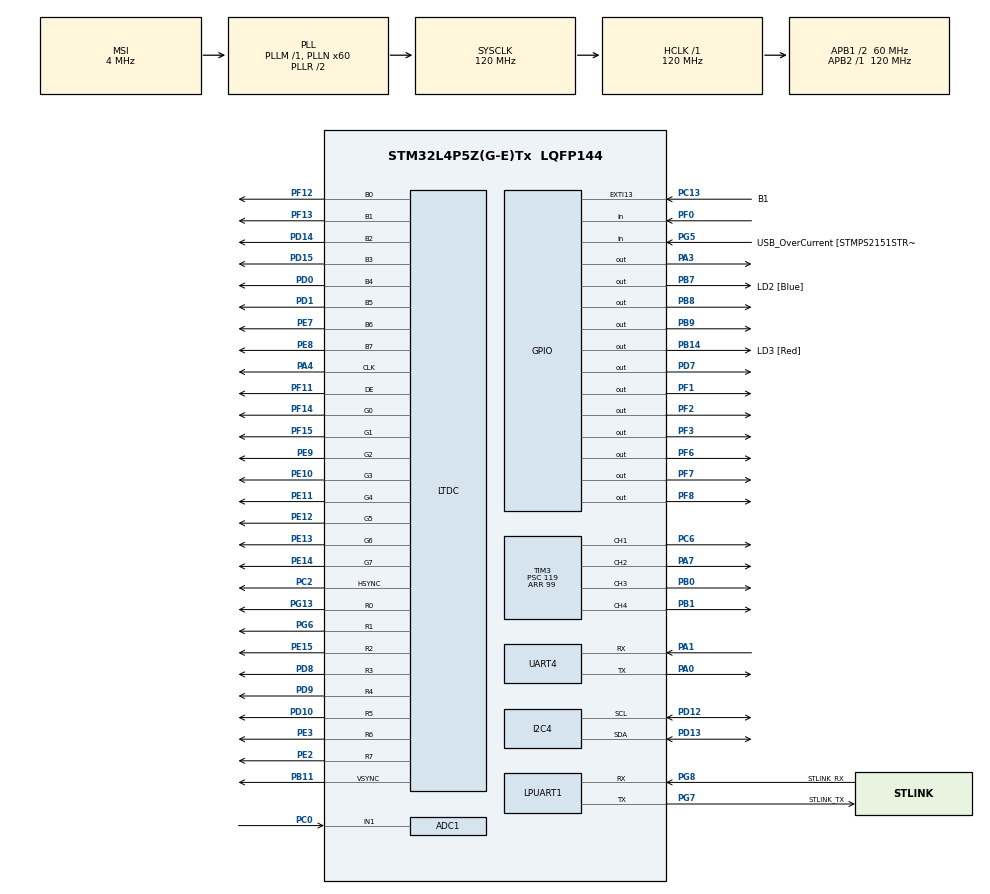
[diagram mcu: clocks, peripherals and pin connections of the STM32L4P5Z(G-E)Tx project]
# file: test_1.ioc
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ADC1.Channel-0\#ChannelRegularConversion=ADC_CHANNEL_1
ADC1.NbrOfConversionFlag=1
ADC1.OffsetNumber-0\#ChannelRegularConversion=ADC_OFFSET_NONE
ADC1.OversamplingMode=ENABLE
ADC1.Rank-0\#ChannelRegularConversion=1
ADC1.Ratio=ADC_OVERSAMPLING_RATIO_16
ADC1.SamplingTime-0\#ChannelRegularConversion=ADC_SAMPLETIME_2CYCLES_5
ADC1.master=1
I2C4.Timing=0x107075B0
LTDC.ActiveH=80
LTDC.ActiveW=100
LTDC.Alpha_L0=255
LTDC.BlendingFactor1_L0=LTDC_BLENDING_FACTOR1_CA
LTDC.BlendingFactor2_L0=LTDC_BLENDING_FACTOR2_CA
LTDC.Blue_L0=200
LTDC.DEPolarity=LTDC_DEPOLARITY_AL
LTDC.FBStartAdress_L0=0
LTDC.Green=200
LTDC.Green_L0=200
LTDC.HBP=30
LTDC.HFP=210
LTDC.HSync=30
LTDC.ImageHeight_L0=80
LTDC.ImageWidth_L0=100
LTDC.PixelFormat_L0=LTDC_PIXEL_FORMAT_RGB565
LTDC.Red_L0=200
LTDC.VBP=4
LTDC.VFP=4
LTDC.VSync=4
LTDC.WindowX1_L0=100
LTDC.WindowY1_L0=80
Mcu.Family=STM32L4
Mcu.Name=STM32L4P5Z(G-E)Tx
Mcu.Package=LQFP144
NVIC.LTDC_IRQn=true\:0\:0\:false\:false\:true\:true\:true\:true
NVIC.PriorityGroup=NVIC_PRIORITYGROUP_4
PA0.Mode=Asynchronous
PA0.Signal=UART4_TX
PA1.Mode=Asynchronous
PA1.Signal=UART4_RX
PA13\ (JTMS/SWDIO).GPIO_Label=TMS
PA13\ (JTMS/SWDIO).Mode=Trace_Asynchronous_SW
PA13\ (JTMS/SWDIO).Signal=SYS_JTMS-SWDIO
PA14\ (JTCK/SWCLK).GPIO_Label=TCK
PA14\ (JTCK/SWCLK).Mode=Trace_Asynchronous_SW
PA14\ (JTCK/SWCLK).Signal=SYS_JTCK-SWCLK
PA3.Signal=GPIO_Output
PA4.GPIO_Speed=GPIO_SPEED_FREQ_VERY_HIGH
PA4.Mode=RGB888
PA4.Signal=LTDC_CLK
PA7.Signal=S_TIM3_CH2
PB0.Signal=S_TIM3_CH3
PB1.Signal=S_TIM3_CH4
PB11.GPIO_Speed=GPIO_SPEED_FREQ_VERY_HIGH
PB11.Mode=RGB888
PB11.Signal=LTDC_VSYNC
PB14.GPIO_Label=LD3 [Red]
PB14.Signal=GPIO_Output
PB3\ (JTDO/TRACESWO).GPIO_Label=SWO
PB3\ (JTDO/TRACESWO).Mode=Trace_Asynchronous_SW
PB3\ (JTDO/TRACESWO).Signal=SYS_JTDO-SWO
PB7.GPIO_Label=LD2 [Blue]
PB7.Signal=GPIO_Output
PB8.Signal=GPIO_Output
PB9.Signal=GPIO_Output
PC0.Signal=ADCx_IN1
PC13.GPIO_Label=B1
PC13.Signal=GPXTI13
PC14-OSC32_IN\ (PC14).Mode=LSE-External-Oscillator
PC14-OSC32_IN\ (PC14).Signal=RCC_OSC32_IN
PC15-OSC32_OUT\ (PC15).Mode=LSE-External-Oscillator
PC15-OSC32_OUT\ (PC15).Signal=RCC_OSC32_OUT
PC2.GPIO_Speed=GPIO_SPEED_FREQ_VERY_HIGH
PC2.Mode=RGB888
PC2.Signal=LTDC_HSYNC
PC6.Signal=S_TIM3_CH1
PD0.GPIO_Speed=GPIO_SPEED_FREQ_VERY_HIGH
PD0.Mode=RGB888
PD0.Signal=LTDC_B4
PD1.GPIO_Speed=GPIO_SPEED_FREQ_VERY_HIGH
PD1.Mode=RGB888
PD1.Signal=LTDC_B5
PD10.GPIO_Speed=GPIO_SPEED_FREQ_VERY_HIGH
PD10.Mode=RGB888
PD10.Signal=LTDC_R5
PD12.Mode=I2C
PD12.Signal=I2C4_SCL
PD13.Mode=I2C
PD13.Signal=I2C4_SDA
PD14.GPIO_Speed=GPIO_SPEED_FREQ_VERY_HIGH
PD14.Mode=RGB888
PD14.Signal=LTDC_B2
PD15.GPIO_Speed=GPIO_SPEED_FREQ_VERY_HIGH
PD15.Mode=RGB888
PD15.Signal=LTDC_B3
PD7.Signal=GPIO_Output
PD8.GPIO_Speed=GPIO_SPEED_FREQ_VERY_HIGH
PD8.Mode=RGB888
PD8.Signal=LTDC_R3
PD9.GPIO_Speed=GPIO_SPEED_FREQ_VERY_HIGH
PD9.Mode=RGB888
PD9.Signal=LTDC_R4
PE10.GPIO_Speed=GPIO_SPEED_FREQ_VERY_HIGH
PE10.Mode=RGB888
PE10.Signal=LTDC_G3
PE11.GPIO_Speed=GPIO_SPEED_FREQ_VERY_HIGH
PE11.Mode=RGB888
PE11.Signal=LTDC_G4
PE12.GPIO_Speed=GPIO_SPEED_FREQ_VERY_HIGH
PE12.Mode=RGB888
PE12.Signal=LTDC_G5
PE13.GPIO_Speed=GPIO_SPEED_FREQ_VERY_HIGH
PE13.Mode=RGB888
PE13.Signal=LTDC_G6
PE14.GPIO_Speed=GPIO_SPEED_FREQ_VERY_HIGH
PE14.Mode=RGB888
PE14.Signal=LTDC_G7
PE15.GPIO_Speed=GPIO_SPEED_FREQ_VERY_HIGH
PE15.Mode=RGB888
PE15.Signal=LTDC_R2
PE2.GPIO_Speed=GPIO_SPEED_FREQ_VERY_HIGH
PE2.Mode=RGB888
PE2.Signal=LTDC_R7
PE3.GPIO_Speed=GPIO_SPEED_FREQ_VERY_HIGH
PE3.Mode=RGB888
PE3.Signal=LTDC_R6
PE7.GPIO_Speed=GPIO_SPEED_FREQ_VERY_HIGH
PE7.Mode=RGB888
PE7.Signal=LTDC_B6
PE8.GPIO_Speed=GPIO_SPEED_FREQ_VERY_HIGH
PE8.Mode=RGB888
PE8.Signal=LTDC_B7
PE9.GPIO_Speed=GPIO_SPEED_FREQ_VERY_HIGH
PE9.Mode=RGB888
PE9.Signal=LTDC_G2
PF0.Signal=GPIO_Input
PF1.Signal=GPIO_Output
PF11.GPIO_Speed=GPIO_SPEED_FREQ_VERY_HIGH
PF11.Mode=RGB888
PF11.Signal=LTDC_DE
PF12.GPIO_Speed=GPIO_SPEED_FREQ_VERY_HIGH
PF12.Mode=RGB888
PF12.Signal=LTDC_B0
PF13.GPIO_Speed=GPIO_SPEED_FREQ_VERY_HIGH
PF13.Mode=RGB888
PF13.Signal=LTDC_B1
PF14.GPIO_Speed=GPIO_SPEED_FREQ_VERY_HIGH
PF14.Mode=RGB888
PF14.Signal=LTDC_G0
PF15.GPIO_Speed=GPIO_SPEED_FREQ_VERY_HIGH
PF15.Mode=RGB888
PF15.Signal=LTDC_G1
PF2.Signal=GPIO_Output
PF3.Signal=GPIO_Output
PF6.Signal=GPIO_Output
PF7.Signal=GPIO_Output
PF8.Signal=GPIO_Output
PG13.GPIO_Speed=GPIO_SPEED_FREQ_VERY_HIGH
PG13.Mode=RGB888
PG13.Signal=LTDC_R0
PG5.GPIO_Label=USB_OverCurrent [STMPS2151STR_FAULT]
PG5.Signal=GPIO_Input
PG6.GPIO_Speed=GPIO_SPEED_FREQ_VERY_HIGH
PG6.Mode=RGB888
PG6.Signal=LTDC_R1
PG7.GPIO_Label=STLINK_TX
PG7.Mode=Asynchronous
PG7.Signal=LPUART1_TX
PG8.GPIO_Label=STLINK_RX
PG8.Mode=Asynchronous
PG8.Signal=LPUART1_RX
PH0-OSC_IN\ (PH0).Mode=HSE-External-Clock-Source
PH0-OSC_IN\ (PH0).Signal=RCC_OSC_IN
PH1-OSC_OUT\ (PH1).Signal=RCC_OSC_OUT
ProjectManager.HeapSize=0x200
ProjectManager.StackSize=0x400
ProjectManager.TargetToolchain=Makefile
RCC.48MHZClocksFreq_Value=24000000
RCC.ADCFreq_Value=48000000
RCC.AHBFreq_Value=120000000
RCC.APB1CLKDivider=RCC_HCLK_DIV2
RCC.APB1Freq_Value=60000000
RCC.APB1TimFreq_Value=120000000
RCC.APB2Freq_Value=120000000
RCC.APB2TimFreq_Value=120000000
RCC.CortexFreq_Value=120000000
RCC.HCLKFreq_Value=120000000
RCC.HSI48_VALUE=48000000
RCC.HSI_VALUE=16000000
RCC.LtdcClockSelection=RCC_LTDCCLKSOURCE_PLLSAI2_DIV16
RCC.MSI_VALUE=4000000
RCC.PLLMUL=RCC_PLL_MUL9
RCC.PLLN=60
RCC.PLLSAI1N=24
RCC.PLLSAI2N=20
RCC.PLLSAI2R=RCC_PLLR_DIV8
RCC.PRESCALERUSB=RCC_USBCLKSOURCE_PLL_DIV1_5
RCC.SYSCLKFreq_VALUE=120000000
RCC.SYSCLKSource=RCC_SYSCLKSOURCE_PLLCLK
RCC.SYSCLKSourceVirtual=RCC_SYSCLKSOURCE_PLLCLK
RCC.USBFreq_Value=48000000
RCC.VCOOutputFreq_Value=240000000
SH.ADCx_IN1.0=ADC1_IN1,IN1-Single-Ended
SH.S_TIM3_CH1.0=TIM3_CH1,PWM Generation1 CH1
SH.S_TIM3_CH2.0=TIM3_CH2,PWM Generation2 CH2
SH.S_TIM3_CH3.0=TIM3_CH3,PWM Generation3 CH3
SH.S_TIM3_CH4.0=TIM3_CH4,PWM Generation4 CH4
TIM3.Channel-PWM\ Generation1\ CH1=TIM_CHANNEL_1
TIM3.Channel-PWM\ Generation2\ CH2=TIM_CHANNEL_2
TIM3.Channel-PWM\ Generation3\ CH3=TIM_CHANNEL_3
TIM3.Channel-PWM\ Generation4\ CH4=TIM_CHANNEL_4
TIM3.Period=99
TIM3.Prescaler=119
TIM4.Period=65535
TIM4.Prescaler=119
VP_TIM3_VS_ClockSourceINT.Mode=Internal
VP_TIM4_VS_ClockSourceINT.Mode=Internal
board=NUCLEO-L4P5ZG

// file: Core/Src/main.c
/* USER CODE BEGIN Header */
/**
  ******************************************************************************
  * @file           : main.c
  * @brief          : Main program body
  ******************************************************************************
  * @attention
  *
  * Copyright (c) 2022 STMicroelectronics.
  * All rights reserved.
  *
  * This software is licensed under terms that can be found in the LICENSE file
  * in the root directory of this software component.
  * If no LICENSE file comes with this software, it is provided AS-IS.
  *
  ******************************************************************************
  */
/* USER CODE END Header */
#include "main.h"

/* USER CODE BEGIN Includes */
#include <math.h>
/* USER CODE END Includes */

ADC_HandleTypeDef hadc1;

I2C_HandleTypeDef hi2c4;

UART_HandleTypeDef hlpuart1;
UART_HandleTypeDef huart4;

LTDC_HandleTypeDef hltdc;

TIM_HandleTypeDef htim3;
TIM_HandleTypeDef htim4;

/* USER CODE BEGIN PV */
double temp;
uint8_t msg[100];
uint32_t framebuffer[100*80];
/* USER CODE END PV */

void SystemClock_Config(void);
static void MX_GPIO_Init(void);
static void MX_LPUART1_UART_Init(void);
static void MX_ADC1_Init(void);
static void MX_TIM3_Init(void);
static void MX_TIM4_Init(void);
static void MX_LTDC_Init(void);
static void MX_UART4_Init(void);
static void MX_I2C4_Init(void);

int main(void)
{

  /* MCU Configuration--------------------------------------------------------*/

  /* Reset of all peripherals, Initializes the Flash interface and the Systick. */
  HAL_Init();

  /* Configure the system clock */
  SystemClock_Config();

  /* Initialize all configured peripherals */
  MX_GPIO_Init();
  MX_LPUART1_UART_Init();
  MX_ADC1_Init();
  MX_TIM3_Init();
  MX_TIM4_Init();
  MX_LTDC_Init();
  MX_UART4_Init();
  MX_I2C4_Init();
  /* USER CODE BEGIN 2 */
  HAL_TIM_PWM_Start(&htim3, TIM_CHANNEL_1);
 // HAL_LTDC_SetAddress(&hltdc, (uint32_t)framebuffer, LTDC_LAYER_1);
  double val, resistance, A,B,C;
	uint16_t raw;
	double temp_tres = 240;
   HAL_GPIO_WritePin(GPIOA, GPIO_PIN_3, 0);
	A = 0.000732;
	B = 0.000214;
	C = 1.07E-07;

  /* USER CODE END 2 */

  /* Infinite loop */
  /* USER CODE BEGIN WHILE */
  while (1)
  {
    HAL_ADC_Start(&hadc1);
    HAL_ADC_PollForConversion(&hadc1, HAL_MAX_DELAY);
		raw = HAL_ADC_GetValue(&hadc1);
		val = (3.3/65536)*raw;
    resistance = val/((3.3-val)/10000);
    temp = 1/(A+B*log(resistance)+C*pow(log(resistance),3))-272.15;
    HAL_GPIO_TogglePin(GPIOB, GPIO_PIN_7);
    HAL_GPIO_TogglePin(GPIOB, GPIO_PIN_14);
    HAL_Delay(500);
    /* USER CODE END WHILE */

  }
}

void SystemClock_Config(void)
{
  RCC_OscInitTypeDef RCC_OscInitStruct = {0};
  RCC_ClkInitTypeDef RCC_ClkInitStruct = {0};

  /** Configure the main internal regulator output voltage
  */
  if (HAL_PWREx_ControlVoltageScaling(PWR_REGULATOR_VOLTAGE_SCALE1_BOOST) != HAL_OK)
  {
    Error_Handler();
  }

  /** Initializes the RCC Oscillators according to the specified parameters
  * in the RCC_OscInitTypeDef structure.
  */
  RCC_OscInitStruct.OscillatorType = RCC_OSCILLATORTYPE_MSI;
  RCC_OscInitStruct.MSIState = RCC_MSI_ON;
  RCC_OscInitStruct.MSICalibrationValue = 0;
  RCC_OscInitStruct.MSIClockRange = RCC_MSIRANGE_6;
  RCC_OscInitStruct.PLL.PLLState = RCC_PLL_ON;
  RCC_OscInitStruct.PLL.PLLSource = RCC_PLLSOURCE_MSI;
  RCC_OscInitStruct.PLL.PLLM = 1;
  RCC_OscInitStruct.PLL.PLLN = 60;
  RCC_OscInitStruct.PLL.PLLP = RCC_PLLP_DIV2;
  RCC_OscInitStruct.PLL.PLLQ = RCC_PLLQ_DIV2;
  RCC_OscInitStruct.PLL.PLLR = RCC_PLLR_DIV2;
  if (HAL_RCC_OscConfig(&RCC_OscInitStruct) != HAL_OK)
  {
    Error_Handler();
  }

  /** Initializes the CPU, AHB and APB buses clocks
  */
  RCC_ClkInitStruct.ClockType = RCC_CLOCKTYPE_HCLK|RCC_CLOCKTYPE_SYSCLK
                              |RCC_CLOCKTYPE_PCLK1|RCC_CLOCKTYPE_PCLK2;
  RCC_ClkInitStruct.SYSCLKSource = RCC_SYSCLKSOURCE_PLLCLK;
  RCC_ClkInitStruct.AHBCLKDivider = RCC_SYSCLK_DIV1;
  RCC_ClkInitStruct.APB1CLKDivider = RCC_HCLK_DIV2;
  RCC_ClkInitStruct.APB2CLKDivider = RCC_HCLK_DIV1;

  if (HAL_RCC_ClockConfig(&RCC_ClkInitStruct, FLASH_LATENCY_5) != HAL_OK)
  {
    Error_Handler();
  }
}

static void MX_ADC1_Init(void)
{

  ADC_MultiModeTypeDef multimode = {0};
  ADC_ChannelConfTypeDef sConfig = {0};

  /** Common config
  */
  hadc1.Instance = ADC1;
  hadc1.Init.ClockPrescaler = ADC_CLOCK_ASYNC_DIV1;
  hadc1.Init.Resolution = ADC_RESOLUTION_12B;
  hadc1.Init.DataAlign = ADC_DATAALIGN_RIGHT;
  hadc1.Init.ScanConvMode = ADC_SCAN_DISABLE;
  hadc1.Init.EOCSelection = ADC_EOC_SINGLE_CONV;
  hadc1.Init.LowPowerAutoWait = DISABLE;
  hadc1.Init.ContinuousConvMode = DISABLE;
  hadc1.Init.NbrOfConversion = 1;
  hadc1.Init.DiscontinuousConvMode = DISABLE;
  hadc1.Init.ExternalTrigConv = ADC_SOFTWARE_START;
  hadc1.Init.ExternalTrigConvEdge = ADC_EXTERNALTRIGCONVEDGE_NONE;
  hadc1.Init.DMAContinuousRequests = DISABLE;
  hadc1.Init.Overrun = ADC_OVR_DATA_PRESERVED;
  hadc1.Init.OversamplingMode = ENABLE;
  hadc1.Init.Oversampling.Ratio = ADC_OVERSAMPLING_RATIO_16;
  hadc1.Init.Oversampling.RightBitShift = ADC_RIGHTBITSHIFT_NONE;
  hadc1.Init.Oversampling.TriggeredMode = ADC_TRIGGEREDMODE_SINGLE_TRIGGER;
  hadc1.Init.Oversampling.OversamplingStopReset = ADC_REGOVERSAMPLING_CONTINUED_MODE;
  if (HAL_ADC_Init(&hadc1) != HAL_OK)
  {
    Error_Handler();
  }

  /** Configure the ADC multi-mode
  */
  multimode.Mode = ADC_MODE_INDEPENDENT;
  if (HAL_ADCEx_MultiModeConfigChannel(&hadc1, &multimode) != HAL_OK)
  {
    Error_Handler();
  }

  /** Configure Regular Channel
  */
  sConfig.Channel = ADC_CHANNEL_1;
  sConfig.Rank = ADC_REGULAR_RANK_1;
  sConfig.SamplingTime = ADC_SAMPLETIME_2CYCLES_5;
  sConfig.SingleDiff = ADC_SINGLE_ENDED;
  sConfig.OffsetNumber = ADC_OFFSET_NONE;
  sConfig.Offset = 0;
  if (HAL_ADC_ConfigChannel(&hadc1, &sConfig) != HAL_OK)
  {
    Error_Handler();
  }

}

static void MX_I2C4_Init(void)
{

  hi2c4.Instance = I2C4;
  hi2c4.Init.Timing = 0x107075B0;
  hi2c4.Init.OwnAddress1 = 0;
  hi2c4.Init.AddressingMode = I2C_ADDRESSINGMODE_7BIT;
  hi2c4.Init.DualAddressMode = I2C_DUALADDRESS_DISABLE;
  hi2c4.Init.OwnAddress2 = 0;
  hi2c4.Init.OwnAddress2Masks = I2C_OA2_NOMASK;
  hi2c4.Init.GeneralCallMode = I2C_GENERALCALL_DISABLE;
  hi2c4.Init.NoStretchMode = I2C_NOSTRETCH_DISABLE;
  if (HAL_I2C_Init(&hi2c4) != HAL_OK)
  {
    Error_Handler();
  }

  /** Configure Analogue filter
  */
  if (HAL_I2CEx_ConfigAnalogFilter(&hi2c4, I2C_ANALOGFILTER_ENABLE) != HAL_OK)
  {
    Error_Handler();
  }

  /** Configure Digital filter
  */
  if (HAL_I2CEx_ConfigDigitalFilter(&hi2c4, 0) != HAL_OK)
  {
    Error_Handler();
  }

}

static void MX_LPUART1_UART_Init(void)
{

  hlpuart1.Instance = LPUART1;
  hlpuart1.Init.BaudRate = 209700;
  hlpuart1.Init.WordLength = UART_WORDLENGTH_7B;
  hlpuart1.Init.StopBits = UART_STOPBITS_1;
  hlpuart1.Init.Parity = UART_PARITY_NONE;
  hlpuart1.Init.Mode = UART_MODE_TX_RX;
  hlpuart1.Init.HwFlowCtl = UART_HWCONTROL_NONE;
  hlpuart1.Init.OneBitSampling = UART_ONE_BIT_SAMPLE_DISABLE;
  hlpuart1.Init.ClockPrescaler = UART_PRESCALER_DIV1;
  hlpuart1.AdvancedInit.AdvFeatureInit = UART_ADVFEATURE_NO_INIT;
  hlpuart1.FifoMode = UART_FIFOMODE_DISABLE;
  if (HAL_UART_Init(&hlpuart1) != HAL_OK)
  {
    Error_Handler();
  }
  if (HAL_UARTEx_SetTxFifoThreshold(&hlpuart1, UART_TXFIFO_THRESHOLD_1_8) != HAL_OK)
  {
    Error_Handler();
  }
  if (HAL_UARTEx_SetRxFifoThreshold(&hlpuart1, UART_RXFIFO_THRESHOLD_1_8) != HAL_OK)
  {
    Error_Handler();
  }
  if (HAL_UARTEx_DisableFifoMode(&hlpuart1) != HAL_OK)
  {
    Error_Handler();
  }

}

static void MX_UART4_Init(void)
{

  huart4.Instance = UART4;
  huart4.Init.BaudRate = 115200;
  huart4.Init.WordLength = UART_WORDLENGTH_8B;
  huart4.Init.StopBits = UART_STOPBITS_1;
  huart4.Init.Parity = UART_PARITY_NONE;
  huart4.Init.Mode = UART_MODE_TX_RX;
  huart4.Init.HwFlowCtl = UART_HWCONTROL_NONE;
  huart4.Init.OverSampling = UART_OVERSAMPLING_16;
  huart4.Init.OneBitSampling = UART_ONE_BIT_SAMPLE_DISABLE;
  huart4.Init.ClockPrescaler = UART_PRESCALER_DIV1;
  huart4.AdvancedInit.AdvFeatureInit = UART_ADVFEATURE_NO_INIT;
  if (HAL_UART_Init(&huart4) != HAL_OK)
  {
    Error_Handler();
  }
  if (HAL_UARTEx_SetTxFifoThreshold(&huart4, UART_TXFIFO_THRESHOLD_1_8) != HAL_OK)
  {
    Error_Handler();
  }
  if (HAL_UARTEx_SetRxFifoThreshold(&huart4, UART_RXFIFO_THRESHOLD_1_8) != HAL_OK)
  {
    Error_Handler();
  }
  if (HAL_UARTEx_DisableFifoMode(&huart4) != HAL_OK)
  {
    Error_Handler();
  }

}

static void MX_LTDC_Init(void)
{

  LTDC_LayerCfgTypeDef pLayerCfg = {0};

  /* USER CODE BEGIN LTDC_Init 1 */
  uint8_t r    = 0xff, g = 0x00, b = 0x00;             // Solid red
uint16_t col = ((r>>3)<<11) | ((g>>2)<<5) | (b>>3);  // Convert colors to RGB565
// Put colors into the framebuffer
for(int i = 0; i < 100*80; i++)
{
  framebuffer[i] = col;
}
  /* USER CODE END LTDC_Init 1 */
  hltdc.Instance = LTDC;
  hltdc.Init.HSPolarity = LTDC_HSPOLARITY_AL;
  hltdc.Init.VSPolarity = LTDC_VSPOLARITY_AL;
  hltdc.Init.DEPolarity = LTDC_DEPOLARITY_AL;
  hltdc.Init.PCPolarity = LTDC_PCPOLARITY_IPC;
  hltdc.Init.HorizontalSync = 29;
  hltdc.Init.VerticalSync = 3;
  hltdc.Init.AccumulatedHBP = 59;
  hltdc.Init.AccumulatedVBP = 7;
  hltdc.Init.AccumulatedActiveW = 159;
  hltdc.Init.AccumulatedActiveH = 87;
  hltdc.Init.TotalWidth = 369;
  hltdc.Init.TotalHeigh = 91;
  hltdc.Init.Backcolor.Blue = 0;
  hltdc.Init.Backcolor.Green = 200;
  hltdc.Init.Backcolor.Red = 0;
  if (HAL_LTDC_Init(&hltdc) != HAL_OK)
  {
    Error_Handler();
  }
  pLayerCfg.WindowX0 = 0;
  pLayerCfg.WindowX1 = 100;
  pLayerCfg.WindowY0 = 0;
  pLayerCfg.WindowY1 = 80;
  pLayerCfg.PixelFormat = LTDC_PIXEL_FORMAT_RGB565;
  pLayerCfg.Alpha = 255;
  pLayerCfg.Alpha0 = 0;
  pLayerCfg.BlendingFactor1 = LTDC_BLENDING_FACTOR1_CA;
  pLayerCfg.BlendingFactor2 = LTDC_BLENDING_FACTOR2_CA;
  pLayerCfg.FBStartAdress = (uint32_t)&framebuffer;
  pLayerCfg.ImageWidth = 100;
  pLayerCfg.ImageHeight = 80;
  pLayerCfg.Backcolor.Blue = 200;
  pLayerCfg.Backcolor.Green = 200;
  pLayerCfg.Backcolor.Red = 200;
  if (HAL_LTDC_ConfigLayer(&hltdc, &pLayerCfg, 0) != HAL_OK)
  {
    Error_Handler();
  }

}

static void MX_TIM3_Init(void)
{

  TIM_ClockConfigTypeDef sClockSourceConfig = {0};
  TIM_MasterConfigTypeDef sMasterConfig = {0};
  TIM_OC_InitTypeDef sConfigOC = {0};

  htim3.Instance = TIM3;
  htim3.Init.Prescaler = 119;
  htim3.Init.CounterMode = TIM_COUNTERMODE_UP;
  htim3.Init.Period = 99;
  htim3.Init.ClockDivision = TIM_CLOCKDIVISION_DIV1;
  htim3.Init.AutoReloadPreload = TIM_AUTORELOAD_PRELOAD_DISABLE;
  if (HAL_TIM_Base_Init(&htim3) != HAL_OK)
  {
    Error_Handler();
  }
  sClockSourceConfig.ClockSource = TIM_CLOCKSOURCE_INTERNAL;
  if (HAL_TIM_ConfigClockSource(&htim3, &sClockSourceConfig) != HAL_OK)
  {
    Error_Handler();
  }
  if (HAL_TIM_PWM_Init(&htim3) != HAL_OK)
  {
    Error_Handler();
  }
  sMasterConfig.MasterOutputTrigger = TIM_TRGO_RESET;
  sMasterConfig.MasterSlaveMode = TIM_MASTERSLAVEMODE_DISABLE;
  if (HAL_TIMEx_MasterConfigSynchronization(&htim3, &sMasterConfig) != HAL_OK)
  {
    Error_Handler();
  }
  sConfigOC.OCMode = TIM_OCMODE_PWM1;
  sConfigOC.Pulse = 0;
  sConfigOC.OCPolarity = TIM_OCPOLARITY_HIGH;
  sConfigOC.OCFastMode = TIM_OCFAST_DISABLE;
  if (HAL_TIM_PWM_ConfigChannel(&htim3, &sConfigOC, TIM_CHANNEL_1) != HAL_OK)
  {
    Error_Handler();
  }
  if (HAL_TIM_PWM_ConfigChannel(&htim3, &sConfigOC, TIM_CHANNEL_2) != HAL_OK)
  {
    Error_Handler();
  }
  if (HAL_TIM_PWM_ConfigChannel(&htim3, &sConfigOC, TIM_CHANNEL_3) != HAL_OK)
  {
    Error_Handler();
  }
  if (HAL_TIM_PWM_ConfigChannel(&htim3, &sConfigOC, TIM_CHANNEL_4) != HAL_OK)
  {
    Error_Handler();
  }
  HAL_TIM_MspPostInit(&htim3);

}

static void MX_TIM4_Init(void)
{

  TIM_ClockConfigTypeDef sClockSourceConfig = {0};
  TIM_MasterConfigTypeDef sMasterConfig = {0};

  htim4.Instance = TIM4;
  htim4.Init.Prescaler = 119;
  htim4.Init.CounterMode = TIM_COUNTERMODE_UP;
  htim4.Init.Period = 65535;
  htim4.Init.ClockDivision = TIM_CLOCKDIVISION_DIV1;
  htim4.Init.AutoReloadPreload = TIM_AUTORELOAD_PRELOAD_DISABLE;
  if (HAL_TIM_Base_Init(&htim4) != HAL_OK)
  {
    Error_Handler();
  }
  sClockSourceConfig.ClockSource = TIM_CLOCKSOURCE_INTERNAL;
  if (HAL_TIM_ConfigClockSource(&htim4, &sClockSourceConfig) != HAL_OK)
  {
    Error_Handler();
  }
  sMasterConfig.MasterOutputTrigger = TIM_TRGO_RESET;
  sMasterConfig.MasterSlaveMode = TIM_MASTERSLAVEMODE_DISABLE;
  if (HAL_TIMEx_MasterConfigSynchronization(&htim4, &sMasterConfig) != HAL_OK)
  {
    Error_Handler();
  }

}

static void MX_GPIO_Init(void)
{
  GPIO_InitTypeDef GPIO_InitStruct = {0};

  /* GPIO Ports Clock Enable */
  __HAL_RCC_GPIOE_CLK_ENABLE();
  __HAL_RCC_GPIOC_CLK_ENABLE();
  __HAL_RCC_GPIOF_CLK_ENABLE();
  __HAL_RCC_GPIOH_CLK_ENABLE();
  __HAL_RCC_GPIOA_CLK_ENABLE();
  __HAL_RCC_GPIOB_CLK_ENABLE();
  __HAL_RCC_GPIOD_CLK_ENABLE();
  __HAL_RCC_GPIOG_CLK_ENABLE();
  HAL_PWREx_EnableVddIO2();

  /*Configure GPIO pin Output Level */
  HAL_GPIO_WritePin(GPIOF, GPIO_PIN_1|GPIO_PIN_2|GPIO_PIN_3|GPIO_PIN_6
                          |GPIO_PIN_7|GPIO_PIN_8, GPIO_PIN_RESET);

  /*Configure GPIO pin Output Level */
  HAL_GPIO_WritePin(GPIOA, GPIO_PIN_3, GPIO_PIN_RESET);

  /*Configure GPIO pin Output Level */
  HAL_GPIO_WritePin(GPIOB, LD3_Pin|LD2_Pin|GPIO_PIN_8|GPIO_PIN_9, GPIO_PIN_RESET);

  /*Configure GPIO pin Output Level */
  HAL_GPIO_WritePin(GPIOD, GPIO_PIN_7, GPIO_PIN_RESET);

  /*Configure GPIO pin : B1_Pin */
  GPIO_InitStruct.Pin = B1_Pin;
  GPIO_InitStruct.Mode = GPIO_MODE_IT_RISING;
  GPIO_InitStruct.Pull = GPIO_NOPULL;
  HAL_GPIO_Init(B1_GPIO_Port, &GPIO_InitStruct);

  /*Configure GPIO pin : PF0 */
  GPIO_InitStruct.Pin = GPIO_PIN_0;
  GPIO_InitStruct.Mode = GPIO_MODE_INPUT;
  GPIO_InitStruct.Pull = GPIO_NOPULL;
  HAL_GPIO_Init(GPIOF, &GPIO_InitStruct);

  /*Configure GPIO pins : PF1 PF2 PF3 PF6
                           PF7 PF8 */
  GPIO_InitStruct.Pin = GPIO_PIN_1|GPIO_PIN_2|GPIO_PIN_3|GPIO_PIN_6
                          |GPIO_PIN_7|GPIO_PIN_8;
  GPIO_InitStruct.Mode = GPIO_MODE_OUTPUT_PP;
  GPIO_InitStruct.Pull = GPIO_NOPULL;
  GPIO_InitStruct.Speed = GPIO_SPEED_FREQ_LOW;
  HAL_GPIO_Init(GPIOF, &GPIO_InitStruct);

  /*Configure GPIO pin : PA3 */
  GPIO_InitStruct.Pin = GPIO_PIN_3;
  GPIO_InitStruct.Mode = GPIO_MODE_OUTPUT_PP;
  GPIO_InitStruct.Pull = GPIO_NOPULL;
  GPIO_InitStruct.Speed = GPIO_SPEED_FREQ_LOW;
  HAL_GPIO_Init(GPIOA, &GPIO_InitStruct);

  /*Configure GPIO pins : LD3_Pin LD2_Pin PB8 PB9 */
  GPIO_InitStruct.Pin = LD3_Pin|LD2_Pin|GPIO_PIN_8|GPIO_PIN_9;
  GPIO_InitStruct.Mode = GPIO_MODE_OUTPUT_PP;
  GPIO_InitStruct.Pull = GPIO_NOPULL;
  GPIO_InitStruct.Speed = GPIO_SPEED_FREQ_LOW;
  HAL_GPIO_Init(GPIOB, &GPIO_InitStruct);

  /*Configure GPIO pin : USB_OverCurrent_Pin */
  GPIO_InitStruct.Pin = USB_OverCurrent_Pin;
  GPIO_InitStruct.Mode = GPIO_MODE_INPUT;
  GPIO_InitStruct.Pull = GPIO_NOPULL;
  HAL_GPIO_Init(USB_OverCurrent_GPIO_Port, &GPIO_InitStruct);

  /*Configure GPIO pin : PD7 */
  GPIO_InitStruct.Pin = GPIO_PIN_7;
  GPIO_InitStruct.Mode = GPIO_MODE_OUTPUT_PP;
  GPIO_InitStruct.Pull = GPIO_NOPULL;
  GPIO_InitStruct.Speed = GPIO_SPEED_FREQ_LOW;
  HAL_GPIO_Init(GPIOD, &GPIO_InitStruct);

}

void Error_Handler(void)
{
  __disable_irq();
  while (1)
  {
  }
}
